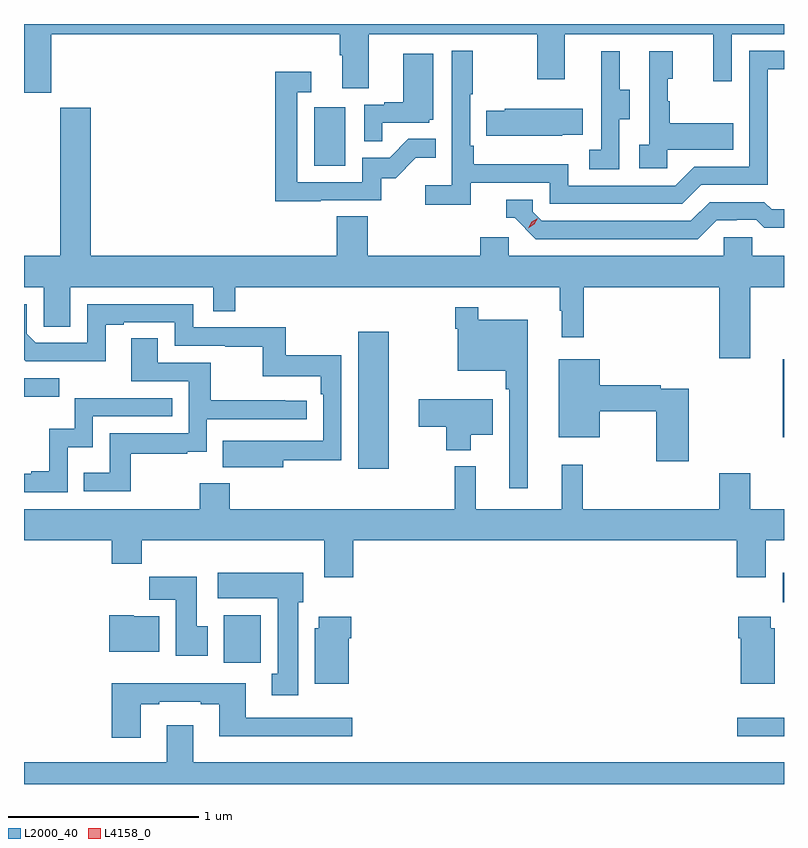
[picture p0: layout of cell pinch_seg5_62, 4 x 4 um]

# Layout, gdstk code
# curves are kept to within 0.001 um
import gdstk
lib = gdstk.Library(unit=1e-6, precision=1e-09)
def R(c, l, rs):  # rectangles x0, y0, x1, y1
    for r in rs: c.add(gdstk.rectangle(r[:2], r[2:], *l))
def P(c, l, *ps):  # polygons
    for p in ps: c.add(gdstk.Polygon(p, *l))
L2000_40 = (2000, 40)
L4158_0 = (4158, 0)

pinch_seg5_62 = lib.new_cell('pinch_seg5_62')
R(pinch_seg5_62, L2000_40, [(1016.253,911.672,1016.498,911.769), (1013.549,912.06,1013.745,912.31), (1016.492,912.378,1016.498,912.532), (1014.257,913.08,1014.418,913.801), (1016.492,913.247,1016.498,913.657), (1012.498,913.46,1012.684,913.557), (1014.026,914.676,1014.19,914.983)])
P(pinch_seg5_62, L2000_40, [(1012.642,915.368),(1014.161,915.368),(1014.161,915.256),(1014.173,915.256),(1014.173,915.082),(1014.313,915.082),(1014.313,915.368),(1015.198,915.368),(1015.198,915.129),(1015.345,915.129),(1015.345,915.368),(1016.126,915.368),(1016.126,915.12),(1016.223,915.12),(1016.223,915.368),(1016.498,915.368),(1016.498,915.421),(1012.498,915.421),(1012.498,915.059),(1012.642,915.059)],
  [(1014.848,914.586),(1015.266,914.586),(1015.266,914.475),(1015.963,914.475),(1016.062,914.574),(1016.412,914.574),(1016.412,915.183),(1016.498,915.183),(1016.498,915.279),(1016.316,915.279),(1016.316,914.67),(1016.025,914.67),(1015.926,914.571),(1015.362,914.571),(1015.362,914.683),(1014.866,914.683),(1014.866,914.779),(1014.846,914.779),(1014.846,915.052),(1014.859,915.052),(1014.859,915.28),(1014.75,915.28),(1014.75,914.572),(1014.609,914.572),(1014.609,914.47),(1014.848,914.47)],
  [(1015.632,914.92),(1015.687,914.92),(1015.687,915.075),(1015.633,915.075),(1015.633,915.277),(1015.535,915.277),(1015.535,915.063),(1015.536,915.063),(1015.536,914.759),(1015.473,914.759),(1015.473,914.656),(1015.632,914.656)],
  [(1015.884,914.759),(1016.231,914.759),(1016.231,914.899),(1015.897,914.899),(1015.897,915.014),(1015.887,915.014),(1015.887,915.132),(1015.912,915.132),(1015.912,915.277),(1015.788,915.277),(1015.788,914.786),(1015.737,914.786),(1015.737,914.661),(1015.884,914.661)],
  [(1014.383,914.901),(1014.63,914.901),(1014.63,914.916),(1014.652,914.916),(1014.652,915.265),(1014.494,915.265),(1014.494,915.01),(1014.395,915.01),(1014.395,914.997),(1014.288,914.997),(1014.288,914.803),(1014.383,914.803)],
  [(1014.059,914.493),(1014.378,914.493),(1014.378,914.61),(1014.454,914.61),(1014.561,914.717),(1014.665,914.717),(1014.665,914.816),(1014.521,914.816),(1014.423,914.718),(1014.279,914.718),(1014.279,914.589),(1013.937,914.589),(1013.937,915.063),(1014.01,915.063),(1014.01,915.169),(1013.821,915.169),(1013.821,914.488),(1014.059,914.488)],
  [(1016.32,914.036),(1016.498,914.036),(1016.498,914.2),(1016.331,914.2),(1016.331,914.298),(1016.181,914.298),(1016.181,914.2),(1015.05,914.2),(1015.05,914.298),(1014.899,914.298),(1014.899,914.2),(1014.308,914.2),(1014.308,914.408),(1014.143,914.408),(1014.143,914.2),(1012.85,914.2),(1012.85,914.98),(1012.69,914.98),(1012.69,914.2),(1012.498,914.2),(1012.498,914.036),(1012.602,914.036),(1012.602,913.828),(1012.741,913.828),(1012.741,914.036),(1013.493,914.036),(1013.493,913.909),(1013.609,913.909),(1013.609,914.036),(1015.317,914.036),(1015.317,913.913),(1015.328,913.913),(1015.328,913.773),(1015.445,913.773),(1015.445,914.036),(1016.156,914.036),(1016.156,913.662),(1016.32,913.662)],
  [(1015.331,914.837),(1015.439,914.837),(1015.439,914.974),(1015.029,914.974),(1015.029,914.964),(1014.931,914.964),(1014.931,914.834),(1015.331,914.834)],
  [(1016.143,914.388),(1016.25,914.388),(1016.25,914.391),(1016.353,914.391),(1016.395,914.349),(1016.498,914.349),(1016.498,914.445),(1016.434,914.445),(1016.395,914.484),(1016.106,914.484),(1016.007,914.385),(1015.224,914.385),(1015.176,914.433),(1015.176,914.496),(1015.037,914.496),(1015.037,914.4),(1015.08,914.4),(1015.191,914.289),(1016.044,914.289)],
  [(1013.863,913.126),(1014.168,913.126),(1014.168,913.678),(1013.875,913.678),(1013.875,913.824),(1013.388,913.824),(1013.388,913.947),(1012.83,913.947),(1012.83,913.743),(1012.56,913.743),(1012.512,913.791),(1012.512,913.947),(1012.498,913.947),(1012.498,913.655),(1012.506,913.647),(1012.927,913.646),(1012.927,913.839),(1013.023,913.839),(1013.023,913.851),(1013.292,913.851),(1013.292,913.728),(1013.557,913.728),(1013.557,913.723),(1013.754,913.723),(1013.754,913.568),(1014.059,913.568),(1014.059,913.472),(1014.072,913.472),(1014.072,913.227),(1013.545,913.228),(1013.545,913.088),(1013.863,913.088)],
  [(1015.15,913.864),(1014.889,913.864),(1014.889,913.93),(1014.768,913.93),(1014.768,913.817),(1014.78,913.817),(1014.78,913.595),(1015.033,913.595),(1015.033,913.499),(1015.053,913.499),(1015.053,912.978),(1015.15,912.978)],
  [(1013.059,913.158),(1013.357,913.158),(1013.357,913.169),(1013.46,913.169),(1013.46,913.341),(1013.986,913.341),(1013.986,913.437),(1013.873,913.437),(1013.873,913.442),(1013.48,913.442),(1013.48,913.638),(1013.203,913.638),(1013.203,913.766),(1013.063,913.766),(1013.063,913.542),(1013.364,913.542),(1013.364,913.266),(1012.948,913.266),(1012.948,913.06),(1012.813,913.06),(1012.813,912.963),(1013.059,912.963)],
  [(1015.997,913.5),(1015.85,913.5),(1015.85,913.52),(1015.528,913.52),(1015.528,913.657),(1015.313,913.657),(1015.313,913.247),(1015.528,913.247),(1015.528,913.384),(1015.826,913.384),(1015.826,913.119),(1015.997,913.119)],
  [(1012.728,913.193),(1012.86,913.193),(1012.86,913.356),(1013.279,913.356),(1013.279,913.452),(1012.764,913.452),(1012.764,913.291),(1012.631,913.291),(1012.631,913.066),(1012.535,913.066),(1012.535,913.053),(1012.498,913.053),(1012.498,912.957),(1012.728,912.957)],
  [(1014.85,913.259),(1014.964,913.259),(1014.964,913.447),(1014.576,913.447),(1014.576,913.3),(1014.721,913.3),(1014.721,913.178),(1014.85,913.178)],
  [(1016.249,912.51),(1016.401,912.51),(1016.401,912.704),(1016.498,912.704),(1016.498,912.868),(1016.32,912.868),(1016.32,913.057),(1016.156,913.057),(1016.156,912.868),(1015.438,912.868),(1015.438,913.102),(1015.328,913.102),(1015.328,912.868),(1014.875,912.868),(1014.875,913.093),(1014.765,913.093),(1014.765,912.868),(1013.582,912.868),(1013.582,913.003),(1013.422,913.003),(1013.422,912.868),(1012.498,912.868),(1012.498,912.704),(1012.961,912.704),(1012.961,912.58),(1013.117,912.58),(1013.117,912.704),(1014.077,912.704),(1014.077,912.51),(1014.23,912.51),(1014.23,912.704),(1016.249,912.704)],
  [(1013.941,912.378),(1013.968,912.378),(1013.968,912.532),(1013.517,912.532),(1013.517,912.398),(1013.834,912.398),(1013.834,912.001),(1013.801,912.001),(1013.801,911.889),(1013.941,911.889)],
  [(1013.464,912.252),(1013.407,912.252),(1013.407,912.511),(1013.158,912.511),(1013.158,912.392),(1013.297,912.392),(1013.297,912.096),(1013.464,912.096)],
  [(1013.209,912.304),(1013.076,912.304),(1013.076,912.31),(1012.946,912.31),(1012.946,912.116),(1013.209,912.116)],
  [(1014.208,912.188),(1014.221,912.188),(1014.221,912.301),(1014.05,912.301),(1014.05,912.24),(1014.029,912.24),(1014.029,911.948),(1014.208,911.948)],
  [(1016.449,912.24),(1016.428,912.24),(1016.428,912.301),(1016.258,912.301),(1016.258,912.188),(1016.27,912.188),(1016.27,911.948),(1016.449,911.948)],
  [(1013.113,911.841),(1013.209,911.841),(1013.209,911.853),(1013.429,911.853),(1013.429,911.841),(1013.525,911.841),(1013.525,911.672),(1014.226,911.672),(1014.226,911.769),(1013.665,911.769),(1013.665,911.95),(1012.961,911.95),(1012.961,911.664),(1013.113,911.664)],
  [(1016.498,911.536),(1013.389,911.536),(1013.389,911.731),(1013.249,911.731),(1013.249,911.536),(1012.498,911.536),(1012.498,911.421),(1016.498,911.421)])
P(pinch_seg5_62, L4158_0, [(1015.153,914.346),(1015.153,914.347),(1015.17,914.379),(1015.201,914.399),(1015.201,914.399),(1015.201,914.398),(1015.184,914.366),(1015.153,914.346)])

lib.write_gds('pinch_seg5_62.gds')
